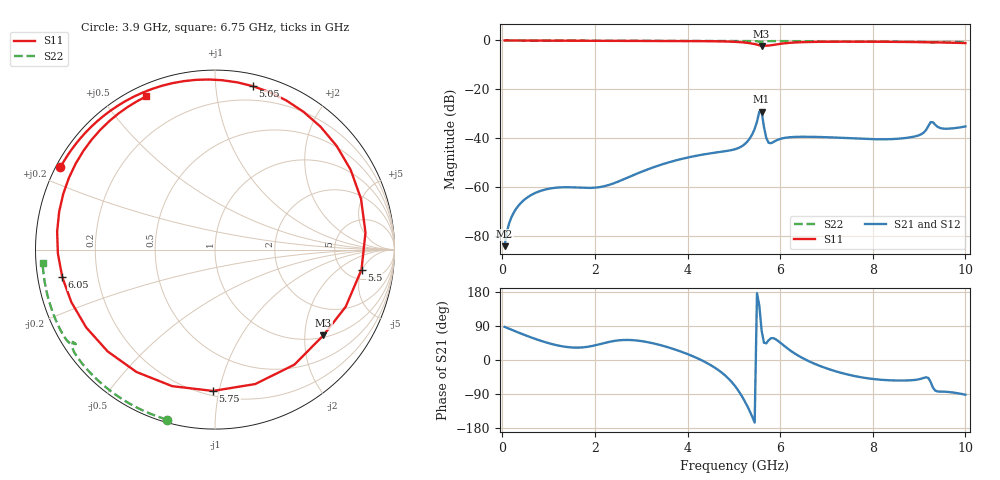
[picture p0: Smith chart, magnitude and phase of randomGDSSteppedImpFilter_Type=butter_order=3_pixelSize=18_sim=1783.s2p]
! freq	dB(S11)	phase(S11)	dB(S12)	phase(S12)
!  dB(S21)	phase(S21)	dB(S22)	phase(S22)
!S-par simulation data
#  GHz  S  DB  R 50
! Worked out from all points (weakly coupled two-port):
!   200 points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, 50 MHz to 10 GHz, reference 50 ohm
!   highest |S21| = -29.05 dB at 5.6 GHz (marker M1); lowest = -84.0 dB at 50 MHz (marker M2)
!   lowest |S11| = -2.3 dB at 5.6 GHz (marker M3), VSWR 7.70, Z = 52.9 - j124 ohm
!   |S11| at or under -10 dB: nowhere
!   |S22| runs from -0.8 to 0.0 dB; largest |S21 - S12| = 0
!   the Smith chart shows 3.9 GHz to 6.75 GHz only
!   S11 on the Smith chart (normalised r, x): 3.9 GHz: 0.01, +0.25; 5.05 GHz: 0.09, +1.25; 5.5 GHz: 6.94, -4.83; 5.75 GHz: 0.23, -0.96; 6.05 GHz: 0.07, -0.09; 6.75 GHz: 0.05, +0.65
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0.05  -0.00 -3.7  -84.04 87.4  -84.04 87.4  -0.00 -1.5
0.3  -0.03 -21.9  -68.72 74.8  -68.72 74.8  -0.01 -8.7
0.6  -0.06 -43.1  -63.41 60.6  -63.41 60.6  -0.02 -17.4
1.15  -0.09 -78.8  -60.18 39.7  -60.18 39.7  -0.04 -33.1
1.75  -0.12 -112.3  -60.20 33.4  -60.20 33.4  -0.06 -49.9
2.55  -0.15 -150.1  -57.29 52.3  -57.29 52.3  -0.09 -71.4
3.4  -0.18 173.8  -50.94 39.7  -50.94 39.7  -0.12 -93.3
3.9  -0.21 152.0  -48.28 20.3  -48.28 20.3  -0.14 -105.8
4.55  -0.31 118.0  -45.96 -17.2  -45.96 -17.2  -0.17 -121.7
5.05  -0.59 76.9  -44.29 -72.7  -44.29 -72.7  -0.20 -133.9
5.3  -1.01 40.5  -41.12 -124.1  -41.12 -124.1  -0.22 -140.1
5.5  -1.68 -7.8  -33.16 176.3  -33.16 176.3  -0.31 -145.6
5.6  -2.27 -38.3  -29.05 77.6  -29.05 77.6  -0.57 -145.8
5.75  -2.07 -90.9  -41.79 51.9  -41.79 51.9  -0.26 -150.0
6.05  -1.26 -169.8  -39.98 40.9  -39.98 40.9  -0.27 -157.7
6.35  -0.80 148.3  -39.39 14.4  -39.39 14.4  -0.29 -165.3
6.7  -0.60 117.7  -39.38 -7.7  -39.38 -7.7  -0.32 -174.2
6.75  -0.58 114.1  -39.39 -10.3  -39.39 -10.3  -0.32 -175.5
7.45  -0.50 71.4  -39.90 -38.1  -39.90 -38.1  -0.39 165.7
8.35  -0.55 22.7  -40.35 -53.5  -40.35 -53.5  -0.48 138.9
9.15  -0.71 -21.2  -36.60 -45.7  -36.60 -45.7  -0.64 111.1
10  -1.06 -71.1  -35.12 -91.6  -35.12 -91.6  -0.65 78.1
